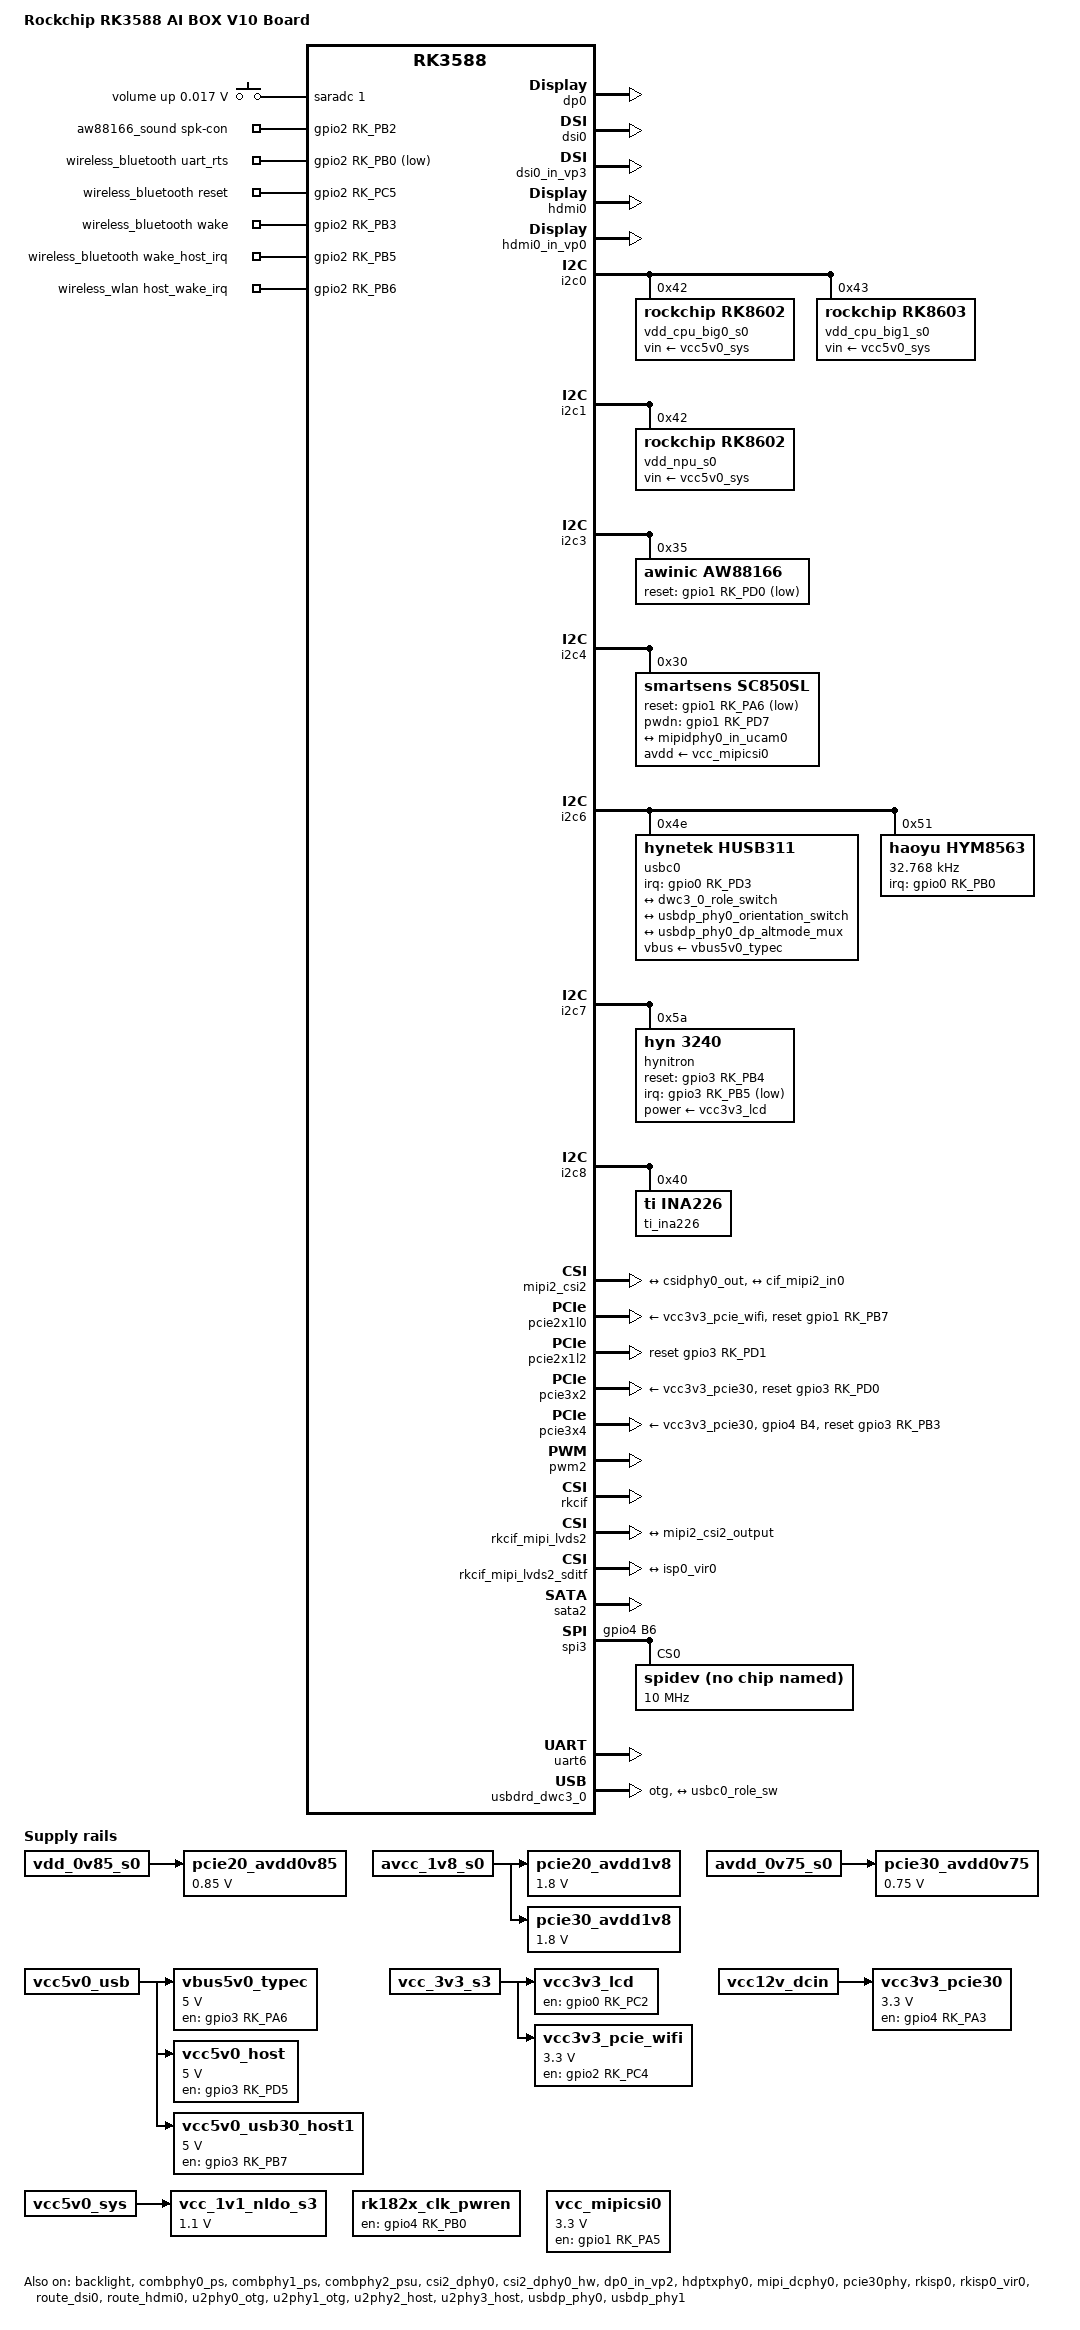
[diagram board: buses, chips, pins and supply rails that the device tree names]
// SPDX-License-Identifier: (GPL-2.0+ OR MIT)
/*
 * Copyright (c) 2026 Rockchip Electronics Co., Ltd.
 *
 */
/dts-v1/;

#include "dt-bindings/usb/pd.h"
#include "rk3588.dtsi"
#include "rk3588-evb.dtsi"
#include "rk3588-rk806-single.dtsi"
#include "rk3588-linux.dtsi"

/ {
	model = "Rockchip RK3588 AI BOX V10 Board";
	compatible = "rockchip,rk3588-ai-box-v10", "rockchip,rk3588";

	adc_keys: adc-keys {
		compatible = "adc-keys";
		io-channels = <&saradc 1>;
		io-channel-names = "buttons";
		keyup-threshold-microvolt = <1800000>;
		poll-interval = <100>;

		vol-up-key {
			label = "volume up";
			linux,code = <KEY_VOLUMEUP>;
			press-threshold-microvolt = <17000>;
		};
	};

	aw88166_sound: aw88166-sound {
		status = "okay";
		compatible = "rockchip,multicodecs-card";
		rockchip,card-name = "rockchip-aw88166";
		spk-con-gpio = <&gpio2 RK_PB2 GPIO_ACTIVE_HIGH>;
		rockchip,pre-power-on-delay-ms = <30>;
		rockchip,post-power-down-delay-ms = <40>;
		rockchip,format = "i2s";
		rockchip,mclk-fs = <256>;
		rockchip,cpu = <&i2s0_8ch>;
		rockchip,codec = <&aw88166>;
		rockchip,audio-routing =
			"Speaker", "DAC Output",
			"Speaker", "Speaker Power";
		pinctrl-names = "default";
		pinctrl-0 = <&pa_init_h>;
	};

	pcie20_avdd0v85: pcie20-avdd0v85 {
		compatible = "regulator-fixed";
		regulator-name = "pcie20_avdd0v85";
		regulator-boot-on;
		regulator-always-on;
		regulator-min-microvolt = <850000>;
		regulator-max-microvolt = <850000>;
		vin-supply = <&vdd_0v85_s0>;
	};

	pcie20_avdd1v8: pcie20-avdd1v8 {
		compatible = "regulator-fixed";
		regulator-name = "pcie20_avdd1v8";
		regulator-boot-on;
		regulator-always-on;
		regulator-min-microvolt = <1800000>;
		regulator-max-microvolt = <1800000>;
		vin-supply = <&avcc_1v8_s0>;
	};

	pcie30_avdd0v75: pcie30-avdd0v75 {
		compatible = "regulator-fixed";
		regulator-name = "pcie30_avdd0v75";
		regulator-boot-on;
		regulator-always-on;
		regulator-min-microvolt = <750000>;
		regulator-max-microvolt = <750000>;
		vin-supply = <&avdd_0v75_s0>;
	};

	pcie30_avdd1v8: pcie30-avdd1v8 {
		compatible = "regulator-fixed";
		regulator-name = "pcie30_avdd1v8";
		regulator-boot-on;
		regulator-always-on;
		regulator-min-microvolt = <1800000>;
		regulator-max-microvolt = <1800000>;
		vin-supply = <&avcc_1v8_s0>;
	};

	rk182x_clk_pwren: rk182x-clk-pwren {
		compatible = "regulator-fixed";
		regulator-always-on;
		regulator-boot-on;
		regulator-name = "rk182x_clk_pwren";
		enable-active-high;
		gpio = <&gpio4 RK_PB0 GPIO_ACTIVE_HIGH>;
		pinctrl-names = "default";
		pinctrl-0 = <&rk182x_clk_pwren_h>;
	};

	vbus5v0_typec: vbus5v0-typec {
		compatible = "regulator-fixed";
		regulator-name = "vbus5v0_typec";
		regulator-min-microvolt = <5000000>;
		regulator-max-microvolt = <5000000>;
		enable-active-high;
		gpio = <&gpio3 RK_PA6 GPIO_ACTIVE_HIGH>;
		vin-supply = <&vcc5v0_usb>;
		pinctrl-names = "default";
		pinctrl-0 = <&typec5v_pwren>;
	};

	vcc3v3_lcd: vcc3v3-lcd {
		compatible = "regulator-fixed";
		regulator-name = "vcc3v3_lcd";
		regulator-boot-on;
		enable-active-high;
		gpio = <&gpio0 RK_PC2 GPIO_ACTIVE_HIGH>;
		vin-supply = <&vcc_3v3_s3>;
		pinctrl-names = "default";
		pinctrl-0 = <&lcd_pwren_h>;
	};

	vcc3v3_pcie30: vcc3v3-pcie30 {
		compatible = "regulator-fixed";
		regulator-always-on;
		regulator-boot-on;
		regulator-name = "vcc3v3_pcie30";
		regulator-min-microvolt = <3300000>;
		regulator-max-microvolt = <3300000>;
		enable-active-high;
		gpio = <&gpio4 RK_PA3 GPIO_ACTIVE_HIGH>;
		startup-delay-us = <5000>;
		vin-supply = <&vcc12v_dcin>;
	};

	vcc3v3_pcie_wifi: vcc3v3-pcie-wifi {
		compatible = "regulator-fixed";
		regulator-always-on;
		regulator-boot-on;
		regulator-name = "vcc3v3_pcie_wifi";
		regulator-min-microvolt = <3300000>;
		regulator-max-microvolt = <3300000>;
		enable-active-high;
		gpio = <&gpio2 RK_PC4 GPIO_ACTIVE_HIGH>;
		vin-supply = <&vcc_3v3_s3>;
		pinctrl-names = "default";
		pinctrl-0 = <&wifi_poweren_gpio>;
	};

	vcc5v0_host: vcc5v0-host {
		compatible = "regulator-fixed";
		regulator-name = "vcc5v0_host";
		regulator-boot-on;
		regulator-min-microvolt = <5000000>;
		regulator-max-microvolt = <5000000>;
		enable-active-high;
		gpio = <&gpio3 RK_PD5 GPIO_ACTIVE_HIGH>;
		vin-supply = <&vcc5v0_usb>;
		pinctrl-names = "default";
		pinctrl-0 = <&vcc5v0_host_en>;
	};

	vcc5v0_usb30_host1: vcc5v0-usb30-host1 {
		compatible = "regulator-fixed";
		regulator-name = "vcc5v0_usb30_host1";
		regulator-always-on;
		regulator-boot-on;
		regulator-min-microvolt = <5000000>;
		regulator-max-microvolt = <5000000>;
		enable-active-high;
		gpio = <&gpio3 RK_PB7 GPIO_ACTIVE_HIGH>;
		vin-supply = <&vcc5v0_usb>;
		pinctrl-names = "default";
		pinctrl-0 = <&vcc5v0_usb30_host1_en>;
	};

	vcc_1v1_nldo_s3: vcc-1v1-nldo-s3 {
		compatible = "regulator-fixed";
		regulator-name = "vcc_1v1_nldo_s3";
		regulator-always-on;
		regulator-boot-on;
		regulator-min-microvolt = <1100000>;
		regulator-max-microvolt = <1100000>;
		vin-supply = <&vcc5v0_sys>;
	};

	vcc_mipicsi0: vcc-mipicsi0 {
		compatible = "regulator-fixed";
		regulator-name = "vcc_mipicsi0";
		regulator-boot-on;
		regulator-min-microvolt = <3300000>;
		regulator-max-microvolt = <3300000>;
		enable-active-high;
		gpio = <&gpio1 RK_PA5 GPIO_ACTIVE_HIGH>;
		pinctrl-names = "default";
		pinctrl-0 = <&mipicsi0_pwr>;
	};

	wireless_bluetooth: wireless-bluetooth {
		compatible = "bluetooth-platdata";
		bt_port = "/dev/ttyS6";
		clocks = <&hym8563>;
		clock-names = "ext_clock";
		uart_rts_gpios = <&gpio2 RK_PB0 GPIO_ACTIVE_LOW>;
		pinctrl-names = "default", "rts_gpio";
		pinctrl-0 = <&uart6m0_rtsn>, <&bt_reset_gpio>, <&bt_wake_gpio>,
			    <&bt_irq_gpio>;
		pinctrl-1 = <&uart6_gpios>;
		BT,reset_gpio    = <&gpio2 RK_PC5 GPIO_ACTIVE_HIGH>;
		BT,wake_gpio     = <&gpio2 RK_PB3 GPIO_ACTIVE_HIGH>;
		BT,wake_host_irq = <&gpio2 RK_PB5 GPIO_ACTIVE_HIGH>;
		status = "okay";
	};

	wireless_wlan: wireless-wlan {
		compatible = "wlan-platdata";
		wifi_chip_type = "ap6275p";
		pinctrl-names = "default";
		pinctrl-0 = <&wifi_host_wake_irq>;
		WIFI,host_wake_irq = <&gpio2 RK_PB6 GPIO_ACTIVE_HIGH>;
		status = "okay";
	};
};

&backlight {
	pwms = <&pwm2 0 25000 0>;
	power-supply = <&vcc3v3_lcd>;
	status = "okay";
};

&combphy0_ps {
	status = "okay";
};

&combphy1_ps {
	status = "okay";
};

&combphy2_psu {
	status = "okay";
};

&csi2_dphy0 {
	status = "okay";

	ports {
		#address-cells = <1>;
		#size-cells = <0>;

		port@0 {
			reg = <0>;
			#address-cells = <1>;
			#size-cells = <0>;

			mipidphy0_in_ucam0: endpoint@1 {
				reg = <1>;
				remote-endpoint = <&sc850sl_out>;
				data-lanes = <1 2 3 4>;
			};
		};

		port@1 {
			reg = <1>;
			#address-cells = <1>;
			#size-cells = <0>;

			csidphy0_out: endpoint@0 {
				reg = <0>;
				remote-endpoint = <&mipi2_csi2_input>;
			};
		};
	};
};

&csi2_dphy0_hw {
	status = "okay";
};

&display_subsystem {
	clocks = <&hdptxphy0>;
	clock-names = "hdmi0_phy_pll";
};

&dp0 {
	status = "okay";
};

&dp0_in_vp2 {
	status = "okay";
};

&dsi0 {
	status = "okay";
};

&dsi0_in_vp3 {
	status = "okay";
};

&dsi0_panel {
	power-supply = <&vcc3v3_lcd>;
	reset-gpios = <&gpio3 RK_PB6 GPIO_ACTIVE_LOW>;
	prepare-delay-ms = <20>;
	pinctrl-names = "default";
	pinctrl-0 = <&lcd_rst_gpio>;
};

&hdmi0 {
	enable-gpios = <&gpio4 RK_PA4 GPIO_ACTIVE_HIGH>;
	pinctrl-names = "default";
	pinctrl-0 = <&hdmim0_tx0_cec &hdmim1_tx0_hpd
		     &hdmim0_tx0_scl &hdmim0_tx0_sda>;
	status = "okay";
};

&hdmi0_in_vp0 {
	status = "okay";
};

&hdptxphy0 {
	status = "okay";
};

&i2c0 {
	status = "okay";
	pinctrl-names = "default";
	pinctrl-0 = <&i2c0m2_xfer>;

	vdd_cpu_big0_s0: vdd_cpu_big0_mem_s0: rk8602@42 {
		compatible = "rockchip,rk8602";
		reg = <0x42>;
		vin-supply = <&vcc5v0_sys>;
		regulator-compatible = "rk860x-reg";
		regulator-name = "vdd_cpu_big0_s0";
		regulator-min-microvolt = <550000>;
		regulator-max-microvolt = <1050000>;
		regulator-ramp-delay = <2300>;
		rockchip,suspend-voltage-selector = <1>;
		regulator-boot-on;
		regulator-always-on;
		regulator-state-mem {
			regulator-off-in-suspend;
		};
	};

	vdd_cpu_big1_s0: vdd_cpu_big1_mem_s0: rk8603@43 {
		compatible = "rockchip,rk8603";
		reg = <0x43>;
		vin-supply = <&vcc5v0_sys>;
		regulator-compatible = "rk860x-reg";
		regulator-name = "vdd_cpu_big1_s0";
		regulator-min-microvolt = <550000>;
		regulator-max-microvolt = <1050000>;
		regulator-ramp-delay = <2300>;
		rockchip,suspend-voltage-selector = <1>;
		regulator-boot-on;
		regulator-always-on;
		regulator-state-mem {
			regulator-off-in-suspend;
		};
	};
};

&i2c1 {
	status = "okay";
	pinctrl-names = "default";
	pinctrl-0 = <&i2c1m2_xfer>;

	vdd_npu_s0: vdd_npu_mem_s0: rk8602@42 {
		compatible = "rockchip,rk8602";
		reg = <0x42>;
		vin-supply = <&vcc5v0_sys>;
		regulator-compatible = "rk860x-reg";
		regulator-name = "vdd_npu_s0";
		regulator-min-microvolt = <550000>;
		regulator-max-microvolt = <950000>;
		regulator-ramp-delay = <2300>;
		rockchip,suspend-voltage-selector = <1>;
		regulator-boot-on;
		regulator-always-on;
		regulator-state-mem {
			regulator-off-in-suspend;
		};
	};
};

&i2c3 {
	pinctrl-names = "default";
	pinctrl-0 = <&i2c3m0_xfer>;
	status = "okay";

	aw88166: aw88166@35 {
		compatible = "awinic,aw88166";
		reg = <0x35>;
		#sound-dai-cells = <0>;
		clocks = <&mclkout_i2s0>;
		clock-names = "mclk";
		assigned-clocks = <&mclkout_i2s0>;
		assigned-clock-rates = <12288000>;
		reset-gpios = <&gpio1 RK_PD0 GPIO_ACTIVE_LOW>;
		awinic,audio-channel = <0>;
		pinctrl-names = "default";
		pinctrl-0 = <&pa_rst_h &i2s0_mclk>;
		status = "okay";
	};
};

&i2c4 {
	pinctrl-names = "default";
	pinctrl-0 = <&i2c4m3_xfer>;
	status = "okay";

	sc850sl: sc850sl@30 {
		compatible = "smartsens,sc850sl";
		reg = <0x30>;
		clocks = <&cru CLK_MIPI_CAMARAOUT_M3>;
		clock-names = "xvclk";
		pinctrl-names = "rockchip,camera_default", "rockchip,camera_sleep";
		pinctrl-0 = <&mipim0_camera3_clk &cam0_rst &cam0_pdn>;
		pinctrl-1 = <&cam0_rst &cam0_pdn>;
		power-domains = <&power RK3588_PD_VI>;
		reset-gpios = <&gpio1 RK_PA6 GPIO_ACTIVE_LOW>;
		pwdn-gpios = <&gpio1 RK_PD7 GPIO_ACTIVE_HIGH>;
		avdd-supply = <&vcc_mipicsi0>;
		rockchip,camera-module-index = <0>;
		rockchip,camera-module-facing = "back";
		rockchip,camera-module-name = "default";
		rockchip,camera-module-lens-name = "default";
		status = "okay";

		port {
			sc850sl_out: endpoint {
				remote-endpoint = <&mipidphy0_in_ucam0>;
				data-lanes = <1 2 3 4>;
			};
		};
	};
};

&i2c6 {
	status = "okay";

	usbc0: husb311@4e {
		compatible = "hynetek,husb311";
		reg = <0x4e>;
		interrupt-parent = <&gpio0>;
		interrupts = <RK_PD3 IRQ_TYPE_LEVEL_LOW>;
		pinctrl-names = "default";
		pinctrl-0 = <&usbc0_int>;
		vbus-supply = <&vbus5v0_typec>;
		status = "okay";

		ports {
			#address-cells = <1>;
			#size-cells = <0>;

			port@0 {
				reg = <0>;
				usbc0_role_sw: endpoint@0 {
					remote-endpoint = <&dwc3_0_role_switch>;
				};
			};
		};

		usb_con: connector {
			compatible = "usb-c-connector";
			label = "USB-C";
			data-role = "dual";
			power-role = "dual";
			try-power-role = "sink";
			op-sink-microwatt = <1000000>;
			sink-pdos =
				<PDO_FIXED(5000, 1000, PDO_FIXED_USB_COMM)>;
			source-pdos =
				<PDO_FIXED(5000, 3000, PDO_FIXED_USB_COMM)>;

			altmodes {
				#address-cells = <1>;
				#size-cells = <0>;

				altmode@0 {
					reg = <0>;
					svid = <0xff01>;
					vdo = <0xffffffff>;
				};
			};

			ports {
				#address-cells = <1>;
				#size-cells = <0>;

				port@0 {
					reg = <0>;
					usbc0_orien_sw: endpoint {
						remote-endpoint = <&usbdp_phy0_orientation_switch>;
					};
				};

				port@1 {
					reg = <1>;
					dp_altmode_mux: endpoint {
						remote-endpoint = <&usbdp_phy0_dp_altmode_mux>;
					};
				};
			};
		};
	};

	hym8563: hym8563@51 {
		compatible = "haoyu,hym8563";
		reg = <0x51>;
		#clock-cells = <0>;
		clock-frequency = <32768>;
		clock-output-names = "hym8563";
		pinctrl-names = "default";
		pinctrl-0 = <&hym8563_int>;
		interrupt-parent = <&gpio0>;
		interrupts = <RK_PB0 IRQ_TYPE_LEVEL_LOW>;
		wakeup-source;
	};
};

&i2c7 {
	status = "okay";
	pinctrl-names = "default";
	pinctrl-0 = <&i2c7m2_xfer>;

	hynitron: hynitron@5a {
		compatible = "hyn,3240";
		reg = <0x5a>;
		power-supply = <&vcc3v3_lcd>;

		pinctrl-names = "ts_active", "ts_suspend";
		pinctrl-0 = <&ts_int_active &ts_reset_active>;
		pinctrl-1 = <&ts_int_suspend &ts_reset_suspend>;

		reset-gpios = <&gpio3 RK_PB4 GPIO_ACTIVE_HIGH>;
		irq-gpios = <&gpio3 RK_PB5 GPIO_ACTIVE_LOW>;

		max-touch-number = <5>;
		display-coords = <0 0 1080 1920>;
		pos-swap = <0>;
		posx-reverse = <0>;
		posy-reverse = <0>;
	};
};

&i2c8 {
	status = "okay";
	pinctrl-names = "default";
	pinctrl-0 = <&i2c8m4_xfer>;

	ti_ina226: ti_ina226@40 {
		compatible = "ti,ina226";
		reg = <0x40>;
		status = "okay";
	};
};

&isp0_mmu {
	status = "okay";
};

&mipi2_csi2 {
	status = "okay";

	ports {
		#address-cells = <1>;
		#size-cells = <0>;

		port@0 {
			reg = <0>;
			#address-cells = <1>;
			#size-cells = <0>;

			mipi2_csi2_input: endpoint@1 {
				reg = <1>;
				remote-endpoint = <&csidphy0_out>;
			};
		};

		port@1 {
			reg = <1>;
			#address-cells = <1>;
			#size-cells = <0>;

			mipi2_csi2_output: endpoint@0 {
				reg = <0>;
				remote-endpoint = <&cif_mipi2_in0>;
			};
		};
	};
};

&mipi_dcphy0 {
	status = "okay";
};

&pcie2x1l0 {
	reset-gpios = <&gpio1 RK_PB7 GPIO_ACTIVE_HIGH>;
	rockchip,perst-inactive-ms = <500>;
	rockchip,skip-scan-in-resume;
	vpcie3v3-supply = <&vcc3v3_pcie_wifi>;
	status = "okay";
};

&pcie2x1l2 {
	reset-gpios = <&gpio3 RK_PD1 GPIO_ACTIVE_HIGH>;
	status = "okay";
};

&pcie30phy {
	rockchip,pcie30-phymode = <PHY_MODE_PCIE_NABINB>;
	status = "okay";
};

&pcie3x2 {
	reset-gpios = <&gpio3 RK_PD0 GPIO_ACTIVE_HIGH>;
	vpcie3v3-supply = <&vcc3v3_pcie30>;
	status = "okay";
};

&pcie3x4 {
	reset-gpios = <&gpio3 RK_PB3 GPIO_ACTIVE_HIGH>;
	vpcie3v3-supply = <&vcc3v3_pcie30>;
	pinctrl-names = "default";
	pinctrl-0 = <&pcie30x4_clkreqn_m1>;
	status = "okay";
};

&pinctrl {
	hym8563 {
		hym8563_int: hym8563-int {
			rockchip,pins = <0 RK_PB0 RK_FUNC_GPIO &pcfg_pull_up>;
		};
	};

	lcd {
		lcd_pwren_h: lcd-pwren-h {
			rockchip,pins = <0 RK_PC2 RK_FUNC_GPIO &pcfg_pull_none>;
		};

		lcd_rst_gpio: lcd-rst-gpio {
			rockchip,pins = <3 RK_PB6 RK_FUNC_GPIO &pcfg_pull_none>;
		};
	};

	touch {
		ts_int_active: ts-int-active {
			rockchip,pins = <3 RK_PB5 RK_FUNC_GPIO &pcfg_pull_up>;
		};

		ts_reset_active: ts-reset-active {
			rockchip,pins = <3 RK_PB4 RK_FUNC_GPIO &pcfg_pull_up>;
		};

		ts_int_suspend: ts-int-suspend {
			rockchip,pins = <3 RK_PB5 RK_FUNC_GPIO &pcfg_pull_down>;
		};

		ts_reset_suspend: ts-reset-suspend {
			rockchip,pins = <3 RK_PB4 RK_FUNC_GPIO &pcfg_pull_down>;
		};
	};

	audio {
		pa_rst_h: pa-rst-h {
			rockchip,pins = <1 RK_PD0 RK_FUNC_GPIO &pcfg_pull_none>;
		};

		pa_init_h: pa-init-h {
			rockchip,pins = <2 RK_PB2 RK_FUNC_GPIO &pcfg_pull_none>;
		};
	};

	camera {
		mipicsi0_pwr: mipicsi0-pwr {
			rockchip,pins = <1 RK_PA5 RK_FUNC_GPIO &pcfg_pull_none>;
		};

		cam0_rst: cam0-rst {
			rockchip,pins = <1 RK_PA6 RK_FUNC_GPIO &pcfg_pull_none>;
		};

		cam0_pdn: cam0-pdn {
			rockchip,pins = <1 RK_PD7 RK_FUNC_GPIO &pcfg_pull_none>;
		};
	};

	wireless-bluetooth {
		uart6_gpios: uart6-gpios {
			rockchip,pins = <2 RK_PB0 RK_FUNC_GPIO &pcfg_pull_none>;
		};

		bt_reset_gpio: bt-reset-gpio {
			rockchip,pins = <2 RK_PC5 RK_FUNC_GPIO &pcfg_pull_none>;
		};

		bt_wake_gpio: bt-wake-gpio {
			rockchip,pins = <2 RK_PB3 RK_FUNC_GPIO &pcfg_pull_none>;
		};

		bt_irq_gpio: bt-irq-gpio {
			rockchip,pins = <2 RK_PB5 RK_FUNC_GPIO &pcfg_pull_none>;
		};
	};

	wireless-wlan {
		wifi_host_wake_irq: wifi-host-wake-irq {
			rockchip,pins = <2 RK_PB6 RK_FUNC_GPIO &pcfg_pull_down>;
		};

		wifi_poweren_gpio: wifi-poweren-gpio {
			rockchip,pins = <2 RK_PC4 RK_FUNC_GPIO &pcfg_output_high>;
		};
	};

	usb {
		vcc5v0_host_en: vcc5v0-host-en {
			rockchip,pins = <3 RK_PD5 RK_FUNC_GPIO &pcfg_pull_none>;
		};

		vcc5v0_usb30_host1_en: vcc5v0-usb30-host1-en {
			rockchip,pins = <3 RK_PB7 RK_FUNC_GPIO &pcfg_pull_none>;
		};
	};

	usb-typec {
		usbc0_int: usbc0-int {
			rockchip,pins = <0 RK_PD3 RK_FUNC_GPIO &pcfg_pull_up>;
		};

		typec5v_pwren: typec5v-pwren {
			rockchip,pins = <3 RK_PA6 RK_FUNC_GPIO &pcfg_pull_none>;
		};
	};

	pcie30x4 {
		rk182x_clk_pwren_h: rk182x-clk-pwren-h {
			rockchip,pins = <4 RK_PB0 RK_FUNC_GPIO &pcfg_pull_none>;
		};

		pcie30x4_clkreqn_m1: pcie30x4-clkreqn-m1 {
			rockchip,pins = <4 RK_PB4 RK_FUNC_GPIO &pcfg_pull_down>;
		};
	};

	spi3 {
		spi3m1_mosi: spi3m1-mosi {
			rockchip,pins = <4 RK_PB6 8 &pcfg_pull_up_drv_level_6>;
		};
	};
};

&pmic_pins {
	rockchip,pins =
		/* pmic_int_l */
		<0 RK_PA7 0 &pcfg_pull_up>,
		/* pmic_sleep1 */
		<0 RK_PA2 1 &pcfg_pull_none>,
		/* pmic_sleep2 */
		<0 RK_PA3 1 &pcfg_pull_none>,
		/* pmic_sleep3 */
		<0 RK_PC1 1 &pcfg_pull_none>,
		/* pmic_sleep5 */
		<0 RK_PC3 1 &pcfg_pull_none>,
		/* pmic_sleep6 */
		<0 RK_PD6 1 &pcfg_pull_none>;
};

&pwm2 {
	status = "okay";
};

&rkcif {
	status = "okay";
};

&rkcif_mipi_lvds2 {
	status = "okay";

	port {
		cif_mipi2_in0: endpoint {
			remote-endpoint = <&mipi2_csi2_output>;
		};
	};
};

&rkcif_mipi_lvds2_sditf {
	status = "okay";

	port {
		mipi_lvds2_sditf: endpoint {
			remote-endpoint = <&isp0_vir0>;
		};
	};
};

&rkcif_mmu {
	status = "okay";
};

&rkisp0 {
	status = "okay";
};

&rkisp0_vir0 {
	status = "okay";

	port {
		#address-cells = <1>;
		#size-cells = <0>;

		isp0_vir0: endpoint@0 {
			reg = <0>;
			remote-endpoint = <&mipi_lvds2_sditf>;
		};
	};
};

&route_dsi0 {
	status = "okay";
	connect = <&vp3_out_dsi0>;
};

&route_hdmi0 {
	status = "okay";
	connect = <&vp0_out_hdmi0>;
};

&sata2 {
	status = "okay";
};

&spi3 {
	pinctrl-names = "default";
	pinctrl-0 = <&spi3m1_mosi>;
	status = "okay";

	spidev@0 {
		compatible = "rockchip,spidev";
		reg = <0>;
		spi-max-frequency = <10000000>;
	};
};

&u2phy0_otg {
	rockchip,typec-vbus-det;
	status = "okay";
};

&u2phy1_otg {
	phy-supply = <&vcc5v0_host>;
	status = "okay";
};

&u2phy2_host {
	phy-supply = <&vcc5v0_host>;
	status = "okay";
};

&u2phy3_host {
	phy-supply = <&vcc5v0_host>;
	status = "okay";
};

&uart6 {
	status = "okay";
	pinctrl-names = "default";
	pinctrl-0 = <&uart6m0_xfer &uart6m0_ctsn>;
};

&usbdp_phy0 {
	status = "okay";
	orientation-switch;
	svid = <0xff01>;
	sbu1-dc-gpios = <&gpio3 RK_PC5 GPIO_ACTIVE_HIGH>;
	sbu2-dc-gpios = <&gpio3 RK_PC6 GPIO_ACTIVE_HIGH>;

	port {
		#address-cells = <1>;
		#size-cells = <0>;
		usbdp_phy0_orientation_switch: endpoint@0 {
			reg = <0>;
			remote-endpoint = <&usbc0_orien_sw>;
		};

		usbdp_phy0_dp_altmode_mux: endpoint@1 {
			reg = <1>;
			remote-endpoint = <&dp_altmode_mux>;
		};
	};
};

&usbdp_phy1 {
	rockchip,dp-lane-mux = <2 3>;
	status = "okay";
};

&usbdrd_dwc3_0 {
	dr_mode = "otg";
	status = "okay";
	usb-role-switch;
	port {
		#address-cells = <1>;
		#size-cells = <0>;
		dwc3_0_role_switch: endpoint@0 {
			reg = <0>;
			remote-endpoint = <&usbc0_role_sw>;
		};
	};
};
